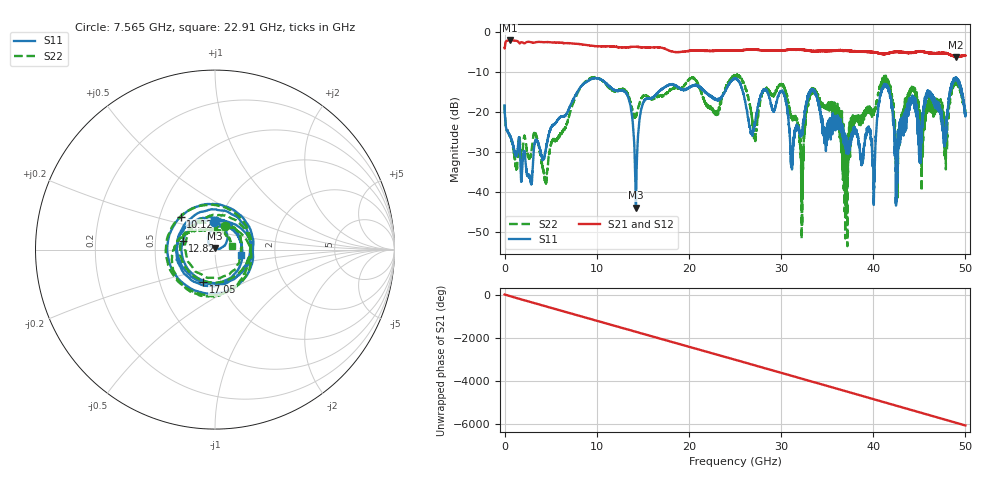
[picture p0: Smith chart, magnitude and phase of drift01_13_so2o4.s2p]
!Created with skrf (http://scikit-rf.org).
# Hz S RI R 50.0
!freq ReS11 ImS11 ReS21 ImS21 ReS12 ImS12 ReS22 ImS22
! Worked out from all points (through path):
!   10001 points, 300 kHz to 50 GHz, reference 50 ohm
!   highest |S21| = -2.00 dB at 540.3 MHz (marker M1); lowest = -6.1 dB at 48.98 GHz (marker M2)
!   group delay of S21, straight-line fit = 336 ps
!   lowest |S11| = -44.0 dB at 14.25 GHz (marker M3), VSWR 1.01, Z = 50 + j0.629 ohm
!   |S11| at or under -10 dB: start of sweep to end of sweep
!   |S22| runs from -53.7 to -10.5 dB; largest |S21 - S12| = 0.019
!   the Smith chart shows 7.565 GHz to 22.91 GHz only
!   S11 on the Smith chart (normalised r, x): 7.565 GHz: 0.94, +0.30; 10.12 GHz: 0.64, +0.25; 12.82 GHz: 0.69, +0.07; 17.05 GHz: 0.82, -0.31; 22.91 GHz: 1.33, -0.09
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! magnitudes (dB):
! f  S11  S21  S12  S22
! 300 kHz  -18.3  -3.9  -4.1  -18.1
! 540.3 MHz  -25.8  -2.0  -2.0  -25.9
! 4.425 GHz  -29.8  -2.4  -2.4  -37.4
! 7.565 GHz  -16.3  -2.8  -2.8  -17.0
! 8.335 GHz  -13.4  -3.0  -3.0  -13.5
! 10.12 GHz  -11.6  -3.4  -3.4  -11.4
! 12.82 GHz  -14.6  -3.8  -3.8  -14.2
! 14.25 GHz  -44.0  -3.6  -3.6  -21.1
! 16.67 GHz  -15.0  -3.7  -3.7  -15.9
! 17.05 GHz  -14.2  -3.8  -3.8  -16.1
! 22.91 GHz  -16.8  -4.6  -4.6  -20.1
! 25 GHz  -11.6  -4.5  -4.6  -10.9
! 27.14 GHz  -22.7  -4.3  -4.3  -26.0
! 30.2 GHz  -15.1  -4.5  -4.5  -13.1
! 32.25 GHz  -25.1  -4.3  -4.3  -35.3
! 33.34 GHz  -14.4  -4.7  -4.6  -14.5
! 37.03 GHz  -26.9  -4.5  -4.6  -33.1
! 40.06 GHz  -43.3  -4.9  -5.0  -20.5
! 41.67 GHz  -14.4  -5.1  -5.2  -12.8
! 42.56 GHz  -32.0  -4.9  -4.8  -27.5
! 48.98 GHz  -11.5  -6.1  -6.0  -12.9
! 50 GHz  -20.3  -5.8  -5.8  -20.0
